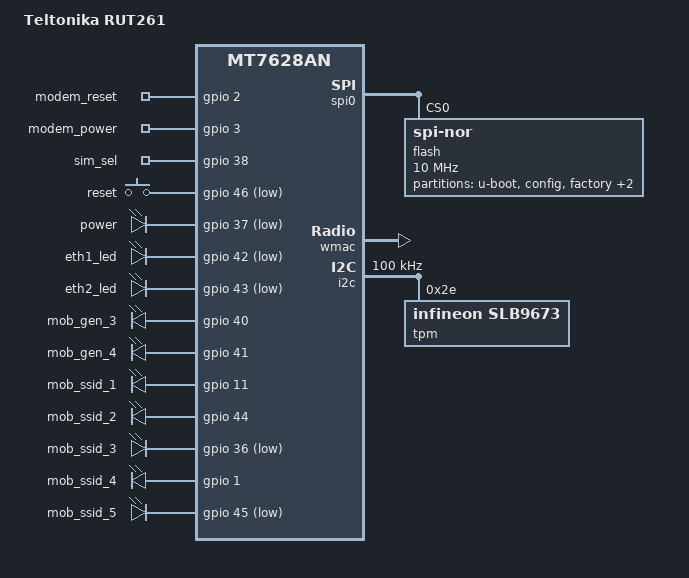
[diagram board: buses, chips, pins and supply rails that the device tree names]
// SPDX-License-Identifier: GPL-2.0-or-later OR MIT
/dts-v1/;

#include <dt-bindings/input/input.h>
#include <dt-bindings/gpio/gpio.h>
#include "mt7628an.dtsi"
#include "platform_name.dtsi"

// PWR, RST |37|46|
// IN, OUT  |0|6|
// ETH      |42|43|
// 4G       |1-3|11|36|38|40|41|44|45|
/ {
	compatible = "teltonika,rut261", "teltonika,rute", "mediatek,mt7628an-soc";
	model = "Teltonika RUT261";

	chosen {
		bootargs = "console=ttyS0,115200 root=/dev/mtdblock5 is_full_hwver=1";
	};

	gpio-export {
		compatible = "gpio-export";
		#size-cells = <0>;

		gpio_modem_reset {
			gpio-export,name = "modem_reset";
			gpio-export,output = <0>;
			gpios = <&gpio 2 GPIO_ACTIVE_HIGH>;
		};

		gpio_modem_power {
			gpio-export,name = "modem_power";
			gpio-export,output = <0>;
			gpios = <&gpio 3 GPIO_ACTIVE_HIGH>;
		};

		gpio_sim_select {
			gpio-export,name = "sim_sel";
			gpio-export,output = <0>;
			gpios = <&gpio 38 GPIO_ACTIVE_HIGH>;
		};
	};

	keys {
		compatible = "gpio-keys";

		reset {
			label = "reset";
			gpios = <&gpio 46 GPIO_ACTIVE_LOW>;
			linux,code = <KEY_RESTART>;
		};
	};

	leds {
		compatible = "gpio-leds";

		led_power {
			label = "power";
			gpios = <&gpio 37 GPIO_ACTIVE_LOW>;
			default-state = "on";
			retain-state-shutdown;
		};

		eth1_led {
			label = "eth1_led";
			gpios = <&gpio 42 GPIO_ACTIVE_LOW>;
		};

		eth2_led {
			label = "eth2_led";
			gpios = <&gpio 43 GPIO_ACTIVE_LOW>;
		};

		led_gen_3 {
			label = "mob_gen_3";
			gpios = <&gpio 40 GPIO_ACTIVE_HIGH>;
		};

		led_gen_4 {
			label = "mob_gen_4";
			gpios = <&gpio 41 GPIO_ACTIVE_HIGH>;
		};

		led_ssid_1 {
			label = "mob_ssid_1";
			gpios = <&gpio 11 GPIO_ACTIVE_HIGH>;
			linux,default-trigger = "timer";
		};

		led_ssid_2 {
			label = "mob_ssid_2";
			gpios = <&gpio 44 GPIO_ACTIVE_HIGH>;
			linux,default-trigger = "timer";
		};

		led_ssid_3 {
			label = "mob_ssid_3";
			gpios = <&gpio 36 GPIO_ACTIVE_LOW>;
			linux,default-trigger = "timer";
		};

		led_ssid_4 {
			label = "mob_ssid_4";
			gpios = <&gpio 1 GPIO_ACTIVE_HIGH>;
			linux,default-trigger = "timer";
		};

		led_ssid_5 {
			label = "mob_ssid_5";
			gpios = <&gpio 45 GPIO_ACTIVE_LOW>;
			linux,default-trigger = "timer";
		};

	};

	tlt_gpios {
		gpiochip_info {
			hw_0 {
				hwver = <0>;
				gpiochip_count = <3>;

				gpiochip_0 = <32>;
				gpiochip_1 = <32>;
				gpiochip_2 = <32>;
			};
		};

		ioman {
			GPIO_0 {
				line_name = "GPIO_IN_1";
			};
			GPIO_6 {
				line_name = "GPIO_OUT_1";
			};
		};

		misc {
			GPIO_2 {
				line_name = "GPIO_MODEM_RESET_1";
			};
			GPIO_3 {
				line_name = "GPIO_MODEM_POWER_1";
			};
			GPIO_38 {
				line_name = "GPIO_SIM_SELECT_1";
			};
		};
	};

	ioman {
		layout@0{
			io@0 { // 4pin #3
				label = "din1";
				block_type = BLOCK_4PIN;
				block_pin = "3";
				gpio_in = "GPIO_IN_1";
				io_param = "g0";
			};
			io@1 { // 4pin #4
				label = "dout1";
				block_type = BLOCK_4PIN;
				block_pin = "4";
				gpio_out = "GPIO_OUT_1";
				io_param = "g1";
			};
		};
	};
};

&mnfinfo {
	simpin1 {
		default = "";
		sec;
	};

	simpin2 {
		default = "";
		sec;
	};

	sim_count {
		default =  "1";
	};

	sim_cfg {
		default = "0110010"; // despite schematics, EG060W has only 1 AT port
		keep-sim-presence;
	};

	blver {
		reg = <&boot 0x3f000 0xa>;
		trailling-data;
	};
};

&state_default {
	gpio {
		groups = "wdt", "i2s", "uart1", "refclk", "p4led_an", "p3led_an", "p2led_an", "p1led_an", "p0led_an", "gpio", "wled_an", "perst", "spi cs1";
		function = "gpio";
	};
};

&spi0 {
	status = "okay";

	flash@0 {
		compatible = "jedec,spi-nor";
		reg = <0>;
		spi-max-frequency = <10000000>;

		partitions {
			compatible = "fixed-partitions";
			#address-cells = <1>;
			#size-cells = <1>;

			boot: partition@0 {
				label = "u-boot";
				reg = <0x0 0x40000>;
				read-only;
			};

			config: partition@40000 {
				compatible = "nvmem-cells";
				#address-cells = <1>;
				#size-cells = <1>;

				label = "config";
				reg = <0x040000 0x010000>;
				read-only;

				macaddr_config_0: macaddr@0 {
					reg = <0x0 0x6>;
				};
			};

			factory: partition@50000 {
				label = "factory";
				reg = <0x050000 0x030000>;
				read-only;
			};

			partition@80000 {
				label = "firmware";
				reg = <0x080000 0x1ED0000>;
			};

			partition@1F50000 {
				label = "event-log";
				reg = <0x1F50000 0xB0000>;
			};
		};
	};
};

&wmac {
	status = "okay";
	nvmem-cells = <&macaddr_config_0>;
	nvmem-cell-names = "mac-address";
	mac-address-increment = <2>;
	mediatek,mtd-eeprom = <&factory 0x20000>;
};

&ethernet {
	nvmem-cells = <&macaddr_config_0>;
	nvmem-cell-names = "mac-address";
};

&esw {
	mediatek,portmap = <0x3e>;
};

&i2c {
	status = "okay";
	clock-frequency = <100000>;
	tlt-mnf,hwver = <500 9999>;

	tpm: tpm@2e {
		compatible = "infineon,slb9673";
		reg = <0x2e>;
		status = "okay";
	};
};
